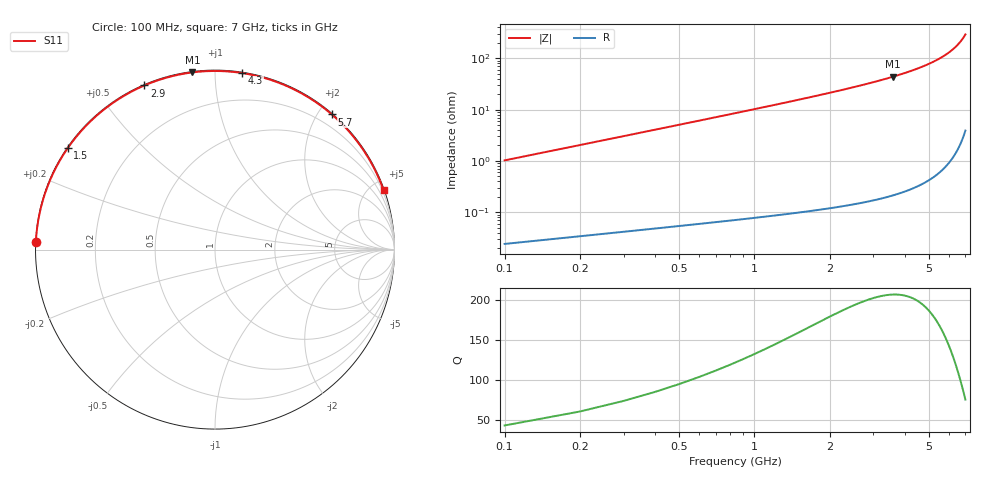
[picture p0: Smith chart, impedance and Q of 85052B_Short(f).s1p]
# Hz S RI R 50.000000
! Metas.Vna.Tools, 2.8.8664.20301
! Metas.Vna.Data, 2.8.8664.20285
! Created: UTC 2024.02.13 19:50:49
! FREQ  re:S1,1  im:S1,1
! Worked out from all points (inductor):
!   70 points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, 100 MHz to 7 GHz, reference 50 ohm
!   read as one part to ground: L = 1.62 nH near 100 MHz
!   highest Q = 206 at 3.6 GHz (marker M1), where L = 1.95 nH
!   S11 on the Smith chart (normalised r, x): 100 MHz: 0.00, +0.02; 1.5 GHz: 0.00, +0.31; 2.9 GHz: 0.00, +0.66; 4.3 GHz: 0.01, +1.17; 5.7 GHz: 0.01, +2.19; 7 GHz: 0.08, +5.85
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1e8  -0.9982 0.0409
3e8  -0.991 0.1211
5e8  -0.9776 0.2003
7e8  -0.958 0.278
1e9  -0.9172 0.3909
1.2e9  -0.8827 0.463
1.5e9  -0.8205 0.5654
1.9e9  -0.7194 0.6889
2.3e9  -0.6001 0.7946
2.7e9  -0.4656 0.8799
2.9e9  -0.3937 0.9143
3.1e9  -0.3193 0.9428
3.3e9  -0.2429 0.9652
3.6e9  -0.1256 0.9873
3.9e9  -0.0065 0.9951
4.1e9  0.073 0.9924
4.3e9  0.1521 0.9834
4.5e9  0.2301 0.9681
4.7e9  0.3067 0.9467
4.9e9  0.3813 0.9192
5.1e9  0.4535 0.8858
5.3e9  0.5228 0.8468
5.7e9  0.6509 0.7529
6e9  0.7363 0.6697
6.2e9  0.7874 0.6089
6.6e9  0.8743 0.4759
6.8e9  0.9096 0.4046
7e9  0.939 0.3308
